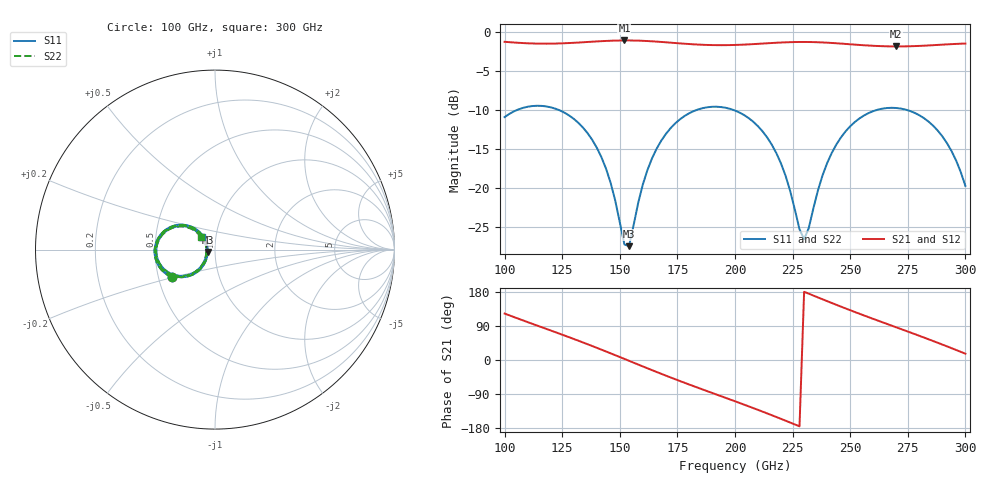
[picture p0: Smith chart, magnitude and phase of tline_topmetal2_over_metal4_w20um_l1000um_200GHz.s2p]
#  GHZ S DB R 50
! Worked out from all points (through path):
!   101 points, 100 GHz to 300 GHz, reference 50 ohm
!   highest |S21| = -1.07 dB at 152 GHz (marker M1); lowest = -1.8 dB at 270 GHz (marker M2)
!   group delay of S21, straight-line fit = 6.5 ps
!   lowest |S11| = -27.4 dB at 154 GHz (marker M3), VSWR 1.09, Z = 46.1 - j1.2 ohm
!   |S11| at or under -10 dB: 123.6 GHz to 183.2 GHz (59.55 GHz wide, 38.8 % of centre); 199.5 GHz to 261.4 GHz (61.9 GHz wide, 26.9 % of centre); 274.8 GHz to end of sweep (the widest 3 of 4)
!   |S22| runs from -27.2 to -9.4 dB; largest |S21 - S12| = 9.8e-14
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100  -10.89 -147.7  -1.24 122.5  -1.24 122.5  -10.89 -147.5
116  -9.46 -179.7  -1.48 86.8  -1.48 86.8  -9.45 -179.5
126  -10.33 160.7  -1.43 64.6  -1.43 64.6  -10.33 160.9
134  -12.23 145.5  -1.30 46.3  -1.30 46.3  -12.23 145.8
144  -17.49 131.2  -1.13 22.5  -1.13 22.5  -17.47 131.7
152  -27.22 163.4  -1.07 2.8  -1.07 2.8  -27.03 164.0
154  -27.44 -162.2  -1.07 -2.1  -1.07 -2.1  -27.25 -162.5
160  -19.53 -126.3  -1.12 -17.0  -1.12 -17.0  -19.50 -126.6
168  -13.91 -133.6  -1.26 -36.5  -1.26 -36.5  -13.90 -133.6
184  -9.91 -163.3  -1.60 -73.4  -1.60 -73.4  -9.90 -163.2
200  -10.05 166.0  -1.65 -108.9  -1.65 -108.9  -10.05 166.2
216  -14.44 137.9  -1.40 -145.8  -1.40 -145.8  -14.43 138.3
222  -18.46 133.3  -1.31 -160.3  -1.31 -160.3  -18.43 133.9
230  -26.54 -177.2  -1.26 180.0  -1.26 180.0  -26.37 -177.1
234  -22.62 -137.0  -1.28 170.1  -1.28 170.1  -22.55 -137.4
240  -16.79 -130.2  -1.36 155.3  -1.36 155.3  -16.77 -130.3
248  -12.72 -140.7  -1.52 136.1  -1.52 136.1  -12.72 -140.6
258  -10.38 -158.8  -1.72 113.0  -1.72 113.0  -10.37 -158.6
268  -9.70 -177.6  -1.83 90.7  -1.83 90.7  -9.70 -177.3
270  -9.73 178.6  -1.83 86.2  -1.83 86.2  -9.72 178.9
288  -12.63 145.9  -1.64 45.4  -1.64 45.4  -12.60 146.6
300  -19.71 136.5  -1.46 16.6  -1.46 16.6  -19.56 138.2
